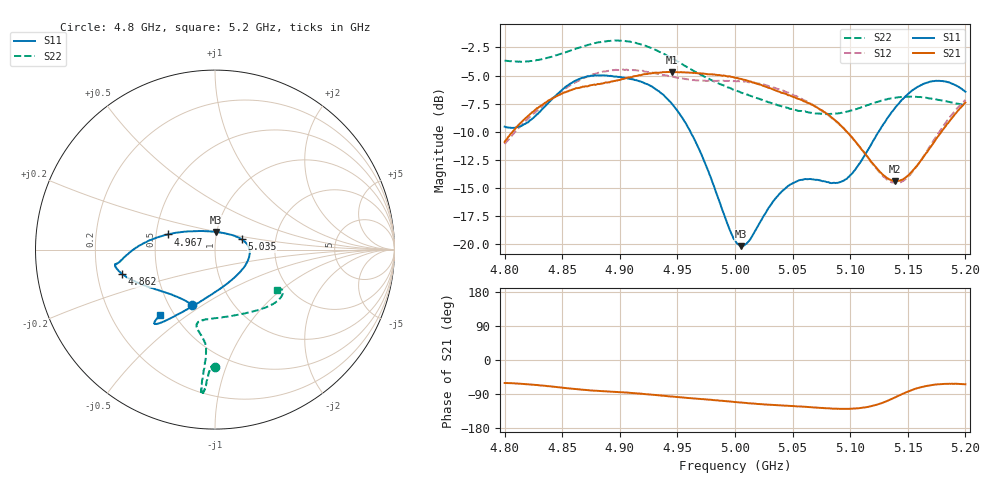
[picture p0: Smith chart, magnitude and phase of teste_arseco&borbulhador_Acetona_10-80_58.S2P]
! Network Analyzer HP8722D
! Hewlett-Packard
! Data name: Linha & Wilkinson
! Saver's name: Rodrigo Anjos
! Comments: Teste da utilização de aquisição
! continua pelo VNA HP8722D
! Time and date: 17/4/2025 14:50
!  Frequency  S11  S21  S12  S22
# HZ  S  MA R 50
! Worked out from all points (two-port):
!   401 points, 4.8 GHz to 5.2 GHz, reference 50 ohm
!   highest |S21| = -4.67 dB at 4.945 GHz (marker M1); lowest = -14.4 dB at 5.139 GHz (marker M2)
!   |S21| within 3 dB of the highest: 4.832 GHz to 5.068 GHz (236.8 MHz wide, 4.78 % of centre); 5.197542 GHz to end of sweep
!   lowest |S11| = -20.2 dB at 5.005 GHz (marker M3), VSWR 1.22, Z = 49.7 + j9.81 ohm
!   |S11| at or under -10 dB: 4.961 GHz to 5.125 GHz (163.3 MHz wide, 3.24 % of centre)
!   |S22| runs from -8.4 to -1.9 dB; largest |S21 - S12| = 0.88
!   S11 on the Smith chart (normalised r, x): 4.8 GHz: 0.65, -0.45; 4.862 GHz: 0.31, -0.12; 4.967 GHz: 0.58, +0.11; 5.035 GHz: 1.34, +0.16; 5.2 GHz: 0.42, -0.40
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4.8e9  0.3333 -113.1  0.2849 -60.7  0.279 -174.9  0.6553 -89.9
4.819e9  0.3463 -132.9  0.3665 -63.8  0.3556 -173.3  0.6503 -91.5
4.862e9  0.5349 -165.3  0.4942 -76.8  0.5267 -176.5  0.7418 -93.7
4.867e9  0.5479 -167.2  0.499 -78.2  0.5419 -177.5  0.7566 -93.8
4.902e9  0.5508 -171.9  0.5423 -85.2  0.5972 175.3  0.802 -95.2
4.934e9  0.4788 -177.9  0.5793 -93.4  0.5715 172.0  0.718 -95.6
4.945e9  0.4232 177.0  0.5838 -96.3  0.5565 172.1  0.6724 -95.3
4.967e9  0.2769 162.3  0.577 -102.0  0.5355 174.0  0.5784 -94.9
5e9  0.1045 103.7  0.5501 -111.1  0.532 176.4  0.4839 -99.0
5.005e9  0.09804 86.4  0.5436 -112.2  0.5313 176.2  0.4731 -100.2
5.013e9  0.1047 60.6  0.529 -114.2  0.5251 176.0  0.4578 -102.0
5.035e9  0.1595 21.1  0.4837 -119.1  0.4951 174.8  0.4193 -103.2
5.05e9  0.1867 5.8  0.4539 -121.7  0.4624 174.2  0.4003 -99.6
5.067e9  0.1946 -12.3  0.4173 -124.9  0.4188 173.8  0.3831 -91.2
5.085e9  0.1874 -40.4  0.362 -128.2  0.3604 173.7  0.3806 -77.7
5.097e9  0.1952 -65.0  0.3167 -129.0  0.3154 174.7  0.3885 -67.6
5.134e9  0.3739 -115.9  0.194 -105.4  0.1909 -158.3  0.4436 -43.0
5.139e9  0.4047 -118.8  0.1906 -98.6  0.1877 -150.5  0.4483 -40.7
5.151e9  0.4693 -123.9  0.2039 -82.3  0.2015 -131.8  0.4533 -36.3
5.17e9  0.5291 -128.4  0.2711 -66.4  0.2766 -112.6  0.4447 -31.8
5.184e9  0.5269 -129.8  0.3421 -62.9  0.3537 -107.1  0.4316 -30.9
5.2e9  0.4766 -130.2  0.4267 -64.1  0.4388 -106.2  0.4149 -33.1
